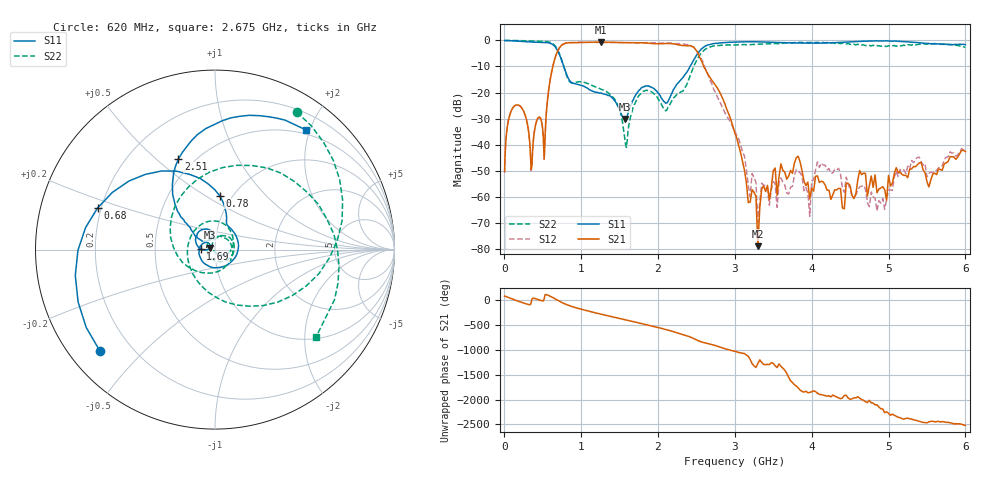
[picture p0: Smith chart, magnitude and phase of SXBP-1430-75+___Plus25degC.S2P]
! Mini-Circuits
! S2P DATA File Format
! Type: BAND PASS FILTER
! Model: SXBP-1430-75+
! All S Parameters are in dB deg format
! TEST CONDITIONS: INPUT POWER = 0 dBm @ Temperature = + 25 deg C
! 401 Frequency points
# MHz S DB R 75
!FREQ  MAG(S11)PHS(S11)MAG(S21)PHS(S21)MAG(S12)PHS(S12)MAG(S22)PHS(S22)
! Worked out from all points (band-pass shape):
!   401 points, 5 MHz to 6 GHz, reference 75 ohm
!   highest |S21| = -0.65 dB at 1.26 GHz (marker M1); lowest = -79.0 dB at 3.3 GHz (marker M2)
!   |S21| within 3 dB of the highest: 701.6 MHz to 2.492 GHz (1.79 GHz wide, 112 % of centre)
!   lowest |S11| = -30.2 dB at 1.57 GHz (marker M3), VSWR 1.06, Z = 70.8 + j1.62 ohm
!   |S11| at or under -10 dB: 775.3 MHz to 2.419 GHz (1.644 GHz wide, 103 % of centre)
!   |S22| runs from -41.1 to 0.0 dB; largest |S21 - S12| = 0.072
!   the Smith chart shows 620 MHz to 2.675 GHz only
!   S11 on the Smith chart (normalised r, x): 620 MHz: 0.09, -0.38; 680 MHz: 0.19, +0.17; 780 MHz: 0.87, +0.58; 1.69 GHz: 0.85, +0.01; 2.51 GHz: 0.41, +0.59; 2.675 GHz: 0.43, +1.94
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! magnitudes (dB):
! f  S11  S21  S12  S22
! 5 MHz  0.0  -50.3  -50.9  0.0
! 140 MHz  -0.2  -25.0  -25.0  0.0
! 270 MHz  -0.5  -28.5  -28.5  -0.1
! 350 MHz  -0.6  -49.6  -50.0  -0.2
! 440 MHz  -0.7  -29.8  -29.8  -0.3
! 520 MHz  -0.8  -45.5  -45.7  -0.4
! 620 MHz  -1.4  -11.7  -11.5  -1.0
! 680 MHz  -3.2  -5.1  -5.1  -2.8
! 780 MHz  -10.4  -1.2  -1.3  -10.5
! 1.01 GHz  -17.4  -0.8  -0.7  -16.0
! 1.26 GHz  -20.2  -0.7  -0.8  -18.8
! 1.57 GHz  -30.2  -0.8  -0.8  -38.1
! 1.69 GHz  -21.9  -0.8  -0.9  -24.7
! 2.01 GHz  -20.4  -1.3  -0.9  -22.8
! 2.51 GHz  -5.3  -4.3  -4.2  -7.3
! 2.675 GHz  -1.5  -14.1  -15.2  -2.6
! 3.025 GHz  -0.6  -37.5  -36.5  -1.7
! 3.3 GHz  -0.5  -79.0  -69.7  -1.4
! 3.8 GHz  -1.0  -45.0  -49.6  -0.8
! 4.025 GHz  -1.0  -57.9  -53.6  -0.9
! 5.025 GHz  -0.2  -55.9  -57.4  -2.2
! 6 GHz  -1.6  -42.6  -43.1  -2.7
